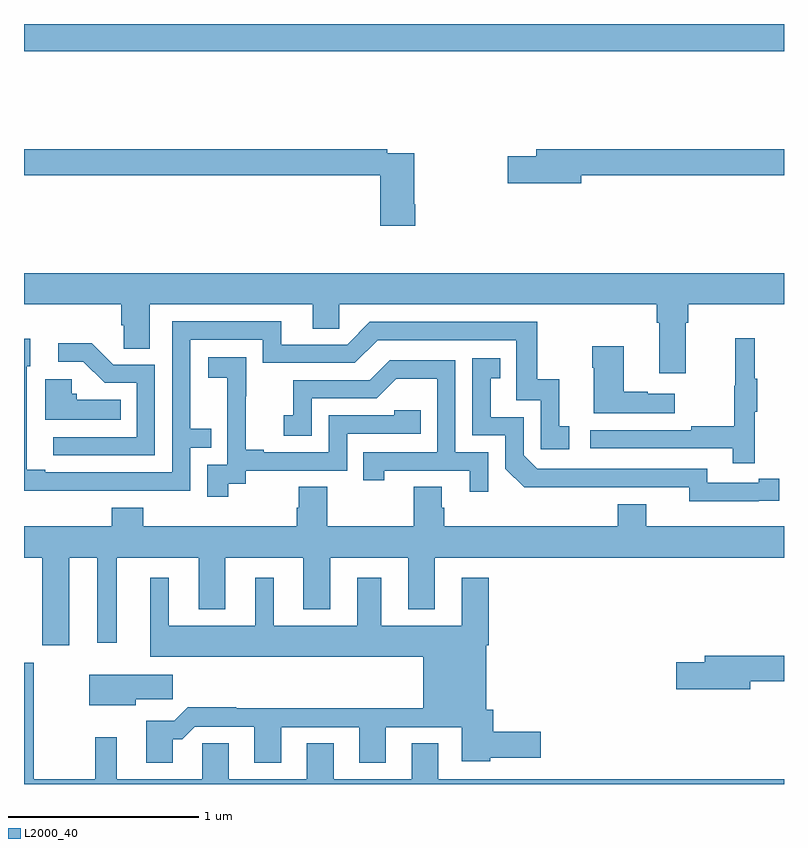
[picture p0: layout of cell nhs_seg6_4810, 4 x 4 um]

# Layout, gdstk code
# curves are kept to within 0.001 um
import gdstk
lib = gdstk.Library(unit=1e-6, precision=1e-09)
def R(c, l, rs):  # rectangles x0, y0, x1, y1
    for r in rs: c.add(gdstk.rectangle(r[:2], r[2:], *l))
def P(c, l, *ps):  # polygons
    for p in ps: c.add(gdstk.Polygon(p, *l))
L2000_40 = (2000, 40)

nhs_seg6_4810 = lib.new_cell('nhs_seg6_4810')
R(nhs_seg6_4810, L2000_40, [(397,927.356,401,927.5)])
P(nhs_seg6_4810, L2000_40, [(399.059,926.551),(399.054,926.551),(399.054,926.82),(398.912,926.82),(398.912,926.84),(397,926.84),(397,926.704),(398.876,926.704),(398.876,926.439),(399.059,926.439)],
  [(399.934,926.704),(401,926.704),(401,926.84),(399.695,926.84),(399.695,926.804),(399.546,926.804),(399.546,926.662),(399.934,926.662)],
  [(400.483,925.928),(400.496,925.928),(400.496,926.024),(401,926.024),(401,926.188),(397,926.188),(397,926.024),(397.511,926.024),(397.511,925.915),(397.524,925.915),(397.524,925.792),(397.663,925.792),(397.663,926.024),(398.519,926.024),(398.519,925.897),(398.658,925.897),(398.658,926.024),(400.331,926.024),(400.331,925.928),(400.343,925.928),(400.343,925.662),(400.483,925.662)],
  [(397.379,925.044),(397.875,925.044),(397.875,925.269),(397.985,925.269),(397.985,925.37),(397.875,925.37),(397.875,925.839),(398.256,925.839),(398.256,925.716),(398.742,925.716),(398.862,925.836),(399.591,925.836),(399.591,925.521),(399.72,925.521),(399.72,925.263),(399.871,925.263),(399.871,925.383),(399.818,925.383),(399.818,925.63),(399.7,925.63),(399.7,925.932),(398.82,925.932),(398.7,925.812),(398.353,925.812),(398.353,925.935),(397.779,925.935),(397.779,925.14),(397.111,925.14),(397.111,925.153),(397.014,925.153),(397.014,925.698),(397.033,925.698),(397.033,925.843),(397,925.843),(397,925.043)],
  [(400.847,925.459),(400.858,925.459),(400.858,925.633),(400.847,925.633),(400.847,925.846),(400.744,925.846),(400.744,925.596),(400.737,925.596),(400.737,925.382),(400.513,925.382),(400.513,925.362),(399.981,925.362),(399.981,925.266),(400.729,925.266),(400.729,925.188),(400.847,925.188)],
  [(397.689,925.707),(397.47,925.707),(397.357,925.82),(397.179,925.82),(397.179,925.722),(397.313,925.722),(397.424,925.611),(397.593,925.611),(397.593,925.326),(397.155,925.326),(397.155,925.23),(397.689,925.23)],
  [(400.426,925.555),(400.283,925.555),(400.283,925.565),(400.156,925.565),(400.156,925.804),(399.991,925.804),(399.991,925.691),(399.998,925.691),(399.998,925.451),(400.426,925.451)],
  [(398.074,925.081),(398.166,925.081),(398.166,925.149),(398.7,925.149),(398.7,925.344),(399.089,925.344),(399.089,925.467),(398.949,925.467),(398.949,925.44),(398.604,925.44),(398.604,925.245),(398.263,925.245),(398.263,925.258),(398.168,925.258),(398.168,925.541),(398.169,925.541),(398.169,925.747),(397.971,925.747),(397.971,925.637),(398.069,925.637),(398.069,925.409),(398.07,925.409),(398.07,925.179),(397.965,925.179),(397.965,925.011),(398.074,925.011)],
  [(400.868,924.99),(400.976,924.99),(400.976,925.106),(400.868,925.106),(400.868,925.086),(400.596,925.086),(400.596,925.158),(399.702,925.158),(399.63,925.23),(399.63,925.431),(399.457,925.431),(399.457,925.635),(399.506,925.635),(399.506,925.741),(399.36,925.741),(399.36,925.335),(399.534,925.335),(399.534,925.158),(399.632,925.061),(400.5,925.062),(400.5,924.989)],
  [(399.444,925.245),(399.27,925.245),(399.27,925.731),(398.924,925.731),(398.819,925.626),(398.416,925.626),(398.416,925.441),(398.367,925.441),(398.367,925.332),(398.514,925.332),(398.514,925.53),(398.856,925.53),(398.96,925.634),(399.174,925.634),(399.174,925.245),(398.785,925.245),(398.785,925.098),(398.896,925.098),(398.896,925.149),(399.347,925.149),(399.347,925.038),(399.444,925.038)],
  [(397.508,925.522),(397.278,925.522),(397.278,925.554),(397.251,925.554),(397.251,925.63),(397.112,925.63),(397.112,925.418),(397.508,925.418)],
  [(397.237,924.692),(397.385,924.692),(397.385,924.243),(397.489,924.243),(397.489,924.692),(397.919,924.692),(397.919,924.419),(398.059,924.419),(398.059,924.692),(398.471,924.692),(398.471,924.419),(398.611,924.419),(398.611,924.692),(399.023,924.692),(399.023,924.419),(399.163,924.419),(399.163,924.692),(401,924.692),(401,924.856),(400.276,924.856),(400.276,924.973),(400.124,924.973),(400.124,924.856),(399.212,924.856),(399.212,924.954),(399.199,924.954),(399.199,925.064),(399.052,925.064),(399.052,924.856),(398.595,924.856),(398.595,925.064),(398.447,925.064),(398.447,924.954),(398.435,924.954),(398.435,924.856),(397.628,924.856),(397.628,924.955),(397.463,924.955),(397.463,924.856),(397,924.856),(397,924.692),(397.097,924.692),(397.097,924.231),(397.237,924.231)],
  [(397.783,923.735),(397.832,923.735),(397.899,923.802),(398.213,923.802),(398.213,923.613),(398.353,923.613),(398.353,923.799),(398.765,923.799),(398.765,923.613),(398.905,923.613),(398.905,923.799),(399.305,923.799),(399.305,923.621),(399.453,923.621),(399.453,923.639),(399.721,923.639),(399.721,923.774),(399.47,923.774),(399.47,923.892),(399.433,923.892),(399.433,924.23),(399.446,924.23),(399.446,924.586),(399.305,924.586),(399.305,924.334),(398.881,924.334),(398.881,924.586),(398.753,924.586),(398.753,924.334),(398.314,924.334),(398.314,924.586),(398.216,924.586),(398.216,924.334),(397.762,924.334),(397.762,924.586),(397.664,924.586),(397.664,924.17),(399.101,924.17),(399.101,923.9),(398.117,923.9),(398.117,923.903),(397.862,923.903),(397.792,923.833),(397.643,923.833),(397.643,923.613),(397.783,923.613)],
  [(400.822,924.04),(401,924.04),(401,924.176),(400.583,924.176),(400.583,924.14),(400.434,924.14),(400.434,923.998),(400.822,923.998)],
  [(401,923.524),(399.181,923.524),(399.181,923.714),(399.041,923.714),(399.041,923.524),(398.629,923.524),(398.629,923.714),(398.489,923.714),(398.489,923.524),(398.077,923.524),(398.077,923.714),(397.938,923.714),(397.938,923.524),(397.489,923.524),(397.489,923.746),(397.375,923.746),(397.375,923.524),(397.051,923.524),(397.051,924.139),(397,924.139),(397,923.5),(401,923.5)],
  [(397.588,923.947),(397.783,923.947),(397.783,924.076),(397.344,924.076),(397.344,923.915),(397.588,923.915)])

lib.write_gds('nhs_seg6_4810.gds')
